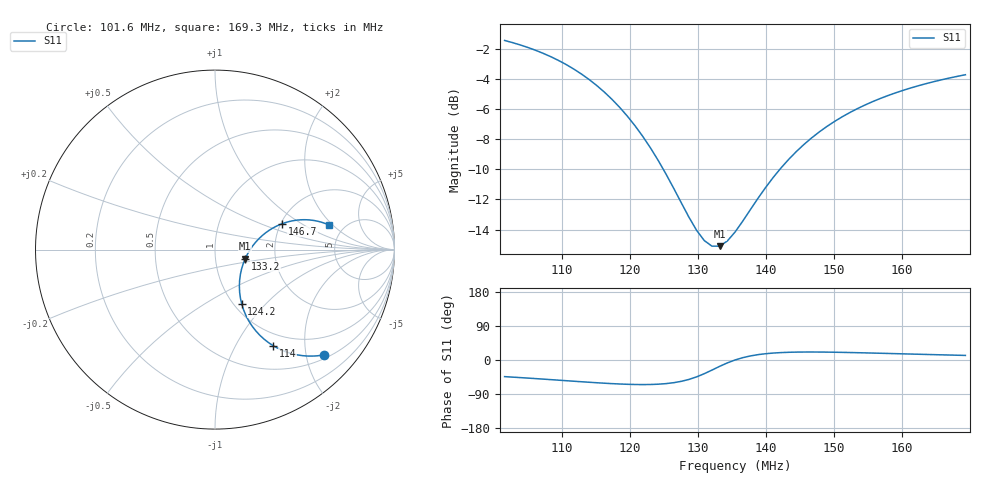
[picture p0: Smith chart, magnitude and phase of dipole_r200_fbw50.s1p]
! Free-space dipole, 1.0 m, 20.0 mm radius
! resonance 135.44 MHz, antenna Q 2.9, fractional bandwidth 50%
! generated with NEC via necpp
# MHZ S MA R 50
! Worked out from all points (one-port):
!   61 points, 101.6 MHz to 169.3 MHz, reference 50 ohm
!   lowest |S11| = -15.1 dB at 133.2 MHz (marker M1), VSWR 1.43, Z = 69.8 - j7.3 ohm
!   |S11| at or under -10 dB: 124.9 MHz to 142 MHz (17.15 MHz wide, 12.9 % of centre)
!   S11 on the Smith chart (normalised r, x): 101.6 MHz: 0.57, -2.36; 114 MHz: 0.82, -1.45; 124.2 MHz: 1.08, -0.74; 133.2 MHz: 1.40, -0.15; 146.7 MHz: 2.04, +0.70; 169.3 MHz: 3.82, +1.81
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101.5786  0.8458 -43.9
103.8359  0.8179 -46.4
106.0932  0.7852 -49.0
108.3505  0.7474 -51.8
110.6078  0.7039 -54.6
113.9938  0.6277 -58.7
116.2511  0.5697 -61.2
118.5084  0.5067 -63.3
120.7657  0.4401 -64.7
121.8943  0.4061 -64.9
124.1516  0.3382 -63.9
125.2803  0.3053 -62.4
127.5376  0.2449 -56.3
129.7949  0.1983 -44.5
130.9235  0.1834 -36.1
132.0522  0.1757 -26.6
133.1808  0.1757 -16.8
134.3095  0.1828 -7.7
135.4382  0.1956 -0.0
137.6955  0.2322 10.7
141.0814  0.2975 18.4
144.4674  0.3622 20.8
146.7247  0.4022 21.1
150.1106  0.4562 20.5
153.4966  0.5033 19.2
156.8825  0.5439 17.8
161.3971  0.5896 15.7
169.2977  0.6509 12.1
